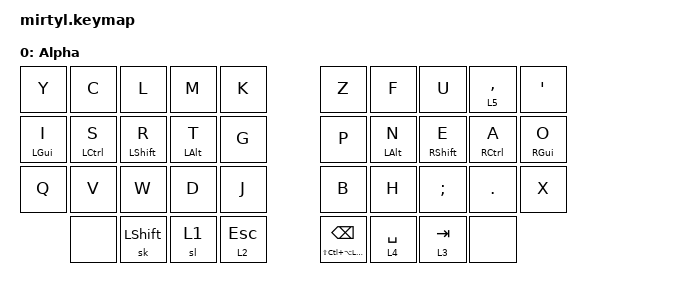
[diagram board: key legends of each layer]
#include <behaviors.dtsi>
#include <dt-bindings/zmk/bt.h>
#include <dt-bindings/zmk/keys.h>
#include <dt-bindings/zmk/outputs.h>

&mt {
    flavor = "tap-preferred";
    quick-tap-ms = <200>;
    retro-tap;
};

&sk {
    quick-release;
};

&lt {
    quick-tap-ms = <200>;
};

/ {
    behaviors {
        gqt: global-quick-tap {
            compatible = "zmk,behavior-hold-tap";
            label = "GLOBAL_QUICK_TAP";
            #binding-cells = <2>;
            flavor = "tap-preferred";
            tapping-term-ms = <200>;
            quick-tap-ms = <200>;
            global-quick-tap;
            bindings =
                <&kp>,
                <&kp>;
        };
    };

    combos {
        compatible = "zmk,combos";

        Caps {
            timeout-ms = <50>;
            bindings = <&kp CAPSLOCK>;
            key-positions = <7 8 9>;
        };

        Ctrl_Backspace {
            timeout-ms = <50>;
            layers = <0 1>;
            bindings = <&kp ENTER>;
            key-positions = <8 9>;
        };

        shift_enter {
            bindings = <&Shift_enter>;
            key-positions = <9 7>;
        };

        open {
            bindings = <&kp LEFT_PARENTHESIS>;
            key-positions = <7 19>;
        };

        close {
            bindings = <&kp RIGHT_PARENTHESIS>;
            key-positions = <9 21>;
        };

        new_combo {
            bindings = <&kp ENTER>;
            key-positions = <8 20>;
        };
    };

    macros {
        ctrl_backspace: ctrl_backspace {
            compatible = "zmk,behavior-macro";
            label = "new_macro";
            #binding-cells = <0>;
            bindings =
                <&macro_press>,
                <&kp RIGHT_CONTROL>,
                <&macro_tap>,
                <&kp BACKSPACE>,
                <&macro_release>,
                <&kp RIGHT_CONTROL>;
        };
        Shift_enter: Shift_enter {
            compatible = "zmk,behavior-macro";
            label = "new_macro";
            #binding-cells = <0>;
            bindings = <&sk LEFT_SHIFT &kp ENTER>;
        };

        ZMK_MACRO(

        Macros_a_acute,
        wait-ms = <0>;
        tap-ms = <0>;
        bindings =
            <&macro_press>,
            <&kp RALT>,
            <&macro_tap>,
            <&kp A>,
            <&macro_release>,
            <&kp RALT>;

        )
        ZMK_MACRO(

        Macros_e_acute,
        wait-ms = <0>;
        tap-ms = <0>;
        bindings =
            <&macro_press>,
            <&kp RALT>,
            <&macro_tap>,
            <&kp E>,
            <&macro_release>,
            <&kp RALT>;

        )
        ZMK_MACRO(

        Macros_i_acute,
        wait-ms = <0>;
        tap-ms = <0>;
        bindings =
            <&macro_press>,
            <&kp RALT>,
            <&macro_tap>,
            <&kp I>,
            <&macro_release>,
            <&kp RALT>;

        )
        ZMK_MACRO(

        Macros_o_acute,
        wait-ms = <0>;
        tap-ms = <0>;
        bindings =
            <&macro_press>,
            <&kp RALT>,
            <&macro_tap>,
            <&kp O>,
            <&macro_release>,
            <&kp RALT>;

        )
        ZMK_MACRO(

        Macros_u_acute,
        wait-ms = <0>;
        tap-ms = <0>;
        bindings =
            <&macro_press>,
            <&kp RALT>,
            <&macro_tap>,
            <&kp U>,
            <&macro_release>,
            <&kp RALT>;

        )
        ZMK_MACRO(

        Macros_a_grave,
        wait-ms = <0>;
        tap-ms = <0>;
        bindings =
            <&macro_press>,
            <&kp RALT>,
            <&macro_tap>,
            <&kp GRAVE>,
            <&macro_release>,
            <&kp RALT>,
            <&macro_tap>,
            <&kp A>;

        )
        ZMK_MACRO(

        Macros_a_caret,
        wait-ms = <0>;
        tap-ms = <0>;
        bindings =
            <&macro_press>,
            <&kp RALT>,
            <&macro_tap>,
            <&kp NUMBER_6>,
            <&macro_release>,
            <&kp RALT>,
            <&macro_tap>,
            <&kp A>;

        )
        ZMK_MACRO(

        Macros_e_caret,
        wait-ms = <0>;
        tap-ms = <0>;
        bindings =
            <&macro_press>,
            <&kp RALT>,
            <&macro_tap>,
            <&kp NUMBER_6>,
            <&macro_release>,
            <&kp RALT>,
            <&macro_tap>,
            <&kp E>;

        )
        ZMK_MACRO(

        Macros_o_caret,
        wait-ms = <0>;
        tap-ms = <0>;
        bindings =
            <&macro_press>,
            <&kp RALT>,
            <&macro_tap>,
            <&kp NUMBER_6>,
            <&macro_release>,
            <&kp RALT>,
            <&macro_tap>,
            <&kp O>;

        )
        ZMK_MACRO(

        Macros_a_tilde,
        wait-ms = <0>;
        tap-ms = <0>;
        bindings =
            <&macro_press>,
            <&kp RALT>,
            <&macro_tap>,
            <&kp TILDE>,
            <&macro_release>,
            <&kp RALT>,
            <&macro_tap>,
            <&kp A>;

        )
        ZMK_MACRO(

        Macros_o_tilde,
        wait-ms = <0>;
        tap-ms = <0>;
        bindings =
            <&macro_press>,
            <&kp RALT>,
            <&macro_tap>,
            <&kp TILDE>,
            <&macro_release>,
            <&kp RALT>,
            <&macro_tap>,
            <&kp O>;

        )
        ZMK_MACRO(

        Cedilha,
        wait-ms = <0>;
        tap-ms = <0>;
        bindings =
            <&macro_press>,
            <&kp RALT>,
            <&macro_tap>,
            <&kp COMMA>,
            <&macro_release>,
            <&kp RALT>;

        )
    };

    keymap {
        compatible = "zmk,keymap";

        Alpha {
            // -----------------------------------------------------------------------------------------
            // |  TAB |  Q  |  W  |  E  |  R  |  T  |   |  Y  |  U   |  I  |  O  |  P  | BKSP |
            // | CTRL |  A  |  &out OUT_BLE  |  D  |  F  |  G  |   |  H  |  J   |  K  |  L  |  ;  |  '   |
            // | SHFT |  Z  |  X  |  C  |  V  |  B  |   |  N  |  M   |  ,  |  .  |  /  | ESC  |
            //              | &out OUT_BLE  | GUI | LWR | SPC |   | ENT | RSE  | ALT | &out OUT_BLE

            bindings = <
           &kp Y        &kp C             &kp L       &kp M      &kp K                             &kp Z        &kp F              &kp U  &lt 5 COMMA   &kp APOSTROPHE  
  &mt LEFT_GUI I  &mt LCTRL S  &mt LEFT_SHIFT R  &mt LALT T      &kp G                             &kp P   &mt LALT N  &mt RIGHT_SHIFT E  &mt RCTRL A  &mt RIGHT_GUI O  
           &kp Q        &kp V             &kp W       &kp D      &kp J                             &kp B        &kp H      &kp SEMICOLON      &kp DOT            &kp X  
                                  &none    &sk LEFT_SHIFT       &sl 1  &lt 2 ESC    &mt LS(LC(LA(LGUI))) BACKSPACE  &lt 4 SPACE          &lt 3 TAB &none
            >;
        };
};
};
